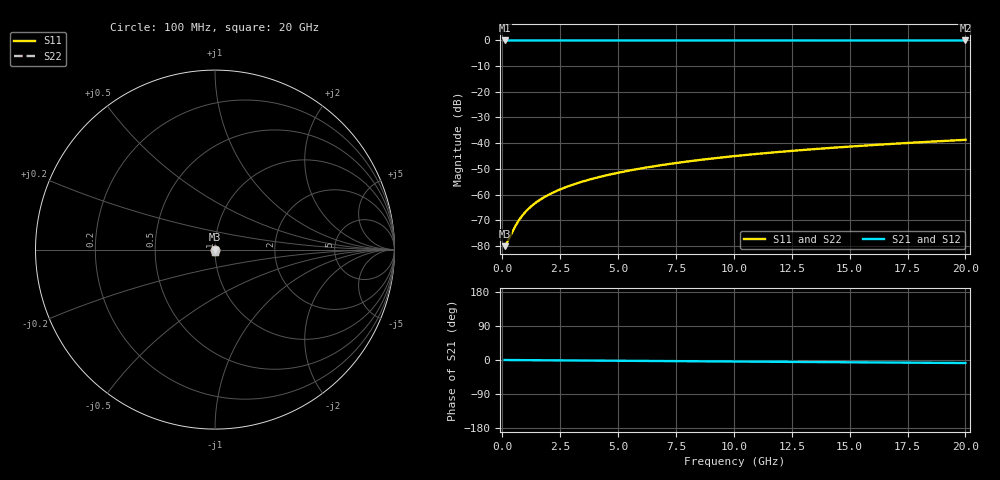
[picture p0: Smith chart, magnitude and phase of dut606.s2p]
! Touchstone file exported from HFSS 2026.1.0
!  File:  C:/ffzhzh/LocalFiles/Ansys_Project_Files/temp_train_TSV_606_1783025578_53980.aedt
!  Generated:  04:54:37 AM Jul  3, 2026
!  Design:  TSV
!  Project:  temp_train_TSV_606_1783025578_53980
! Variables:
!  h_bsmrdl = 2um
!  h_ox = 20um
!  h_rdl = 5um
!  h_sub = 80.2um
!  h_tmrdl = 5um
!  h_tsv = 80.2um
!  h_via = 3um
!  l_bsmrdl = 300um
!  l_sub = 424.18um
!  l_tmrdl = 200um
!  m_sub = 200um
!  pitch = 44.62um
!  r_tsv = 12.09um
!  s_tmrdl = 10um
!  w_bsmrdl = 18um
!  w_sub = 500um
!  w_tmrdl = 12um
!  x_tsv_center1 = 206um
!  x_tsv_center2 = 524um
!  x_tsv_center3 = 736um
!  x_tsv_center4 = 1054um
!  x_tsv_center5 = 1266um
!  x_tsv_center6 = 1584um
# GHz S MA R 50.000000
! Terminal data exported
! Port[1] = TSV1_1_T1
! Port[2] = TSV1_1_T2
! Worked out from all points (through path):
!   200 points, 100 MHz to 20 GHz, reference 50 ohm
!   highest |S21| = 0.00 dB at 100 MHz (marker M1); lowest = 0.0 dB at 20 GHz (marker M2)
!   group delay of S21, straight-line fit = 1.11 ps
!   lowest |S11| = -80.1 dB at 100 MHz (marker M3), VSWR 1.00, Z = 50 - j0.00152 ohm
!   |S11| at or under -10 dB: start of sweep to end of sweep
!   |S22| runs from -80.1 to -38.7 dB; largest |S21 - S12| = 4.5e-15
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0.1  9.878e-05 -8.8  0.9999 -0.0  0.9999 -0.0  9.878e-05 -8.8
! Gamma 0 0 0 0
! Port Impedance 50 0 50 0
0.2  0.0001155 -16.9  0.9999 -0.1  0.9999 -0.1  0.0001155 -16.9
0.5  0.0002158 -35.4  0.9998 -0.2  0.9998 -0.2  0.0002158 -35.4
0.7  0.0003073 -44.1  0.9998 -0.3  0.9998 -0.3  0.0003073 -44.1
0.8  0.0003566 -47.6  0.9998 -0.3  0.9998 -0.3  0.0003566 -47.6
1  0.0004589 -53.4  0.9997 -0.4  0.9997 -0.4  0.0004589 -53.4
1.3  0.0006167 -59.8  0.9997 -0.5  0.9997 -0.5  0.0006166 -59.8
1.5  0.000723 -62.9  0.9997 -0.6  0.9997 -0.6  0.000723 -62.9
1.7  0.0008297 -65.4  0.9996 -0.7  0.9996 -0.7  0.0008297 -65.4
2.2  0.001098 -69.9  0.9996 -0.9  0.9996 -0.9  0.001098 -69.9
2.8  0.001423 -73.4  0.9996 -1.1  0.9996 -1.1  0.001423 -73.4
3.5  0.001808 -76.0  0.9995 -1.4  0.9995 -1.4  0.001808 -76.0
4.2  0.0022 -77.9  0.9995 -1.7  0.9995 -1.7  0.0022 -77.9
5  0.002654 -79.5  0.9994 -2.0  0.9994 -2.0  0.002654 -79.5
5.9  0.003172 -81.0  0.9994 -2.4  0.9994 -2.4  0.003172 -81.0
6.8  0.003696 -82.2  0.9993 -2.7  0.9993 -2.7  0.003696 -82.2
8.3  0.004579 -84.0  0.9992 -3.3  0.9992 -3.3  0.004579 -84.0
10.1  0.005647 -85.7  0.9992 -4.0  0.9992 -4.0  0.005647 -85.7
11.7  0.006602 -87.0  0.9991 -4.7  0.9991 -4.7  0.006602 -87.0
13.4  0.00762 -88.3  0.999 -5.4  0.999 -5.4  0.00762 -88.3
16.7  0.009611 -90.4  0.9989 -6.7  0.9989 -6.7  0.00961 -90.4
20  0.01162 -92.3  0.9988 -8.0  0.9988 -8.0  0.01162 -92.3
